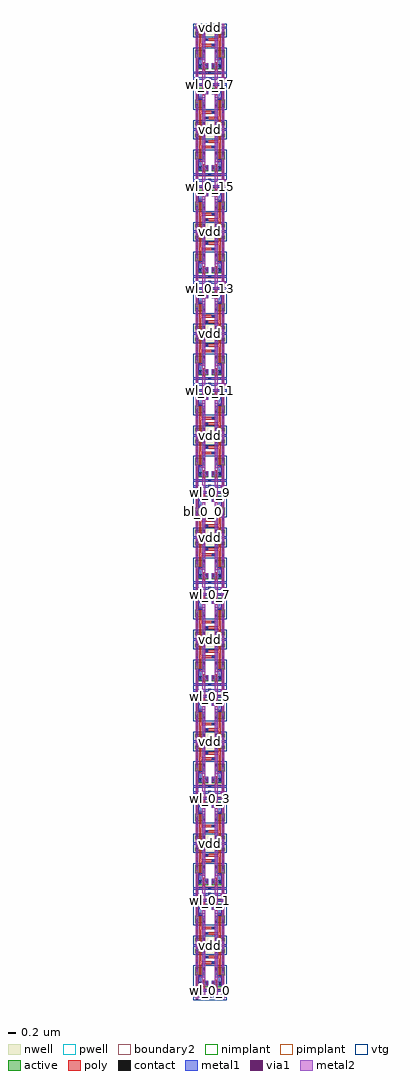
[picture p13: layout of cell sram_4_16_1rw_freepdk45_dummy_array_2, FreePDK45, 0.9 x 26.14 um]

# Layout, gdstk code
import gdstk
lib = gdstk.Library(unit=1e-6, precision=5e-10)
def R(c, l, rs):  # rectangles x0, y0, x1, y1
    for r in rs: c.add(gdstk.rectangle(r[:2], r[2:], *l))
def A(c, l, x, y, w, h, nx, ny, dx, dy):  # array of equal rectangles
    R(c, l, [(x+i*dx, y+j*dy, x+i*dx+w, y+j*dy+h) for i in range(nx) for j in range(ny)])
active = (1, 0)
pwell = (2, 0)
nwell = (3, 0)
nimplant = (4, 0)
pimplant = (5, 0)
vtg = (6, 0)
poly = (9, 0)
contact = (10, 0)
metal1 = (11, 0)
via1 = (12, 0)
metal2 = (13, 0)
boundary2 = (239, 0)

dummy_cell_1rw = lib.new_cell('dummy_cell_1rw')
R(dummy_cell_1rw, active, [(0.3025,-0.045,0.3925,0.045), (0.3025,-0.045,0.3925,0.045), (0.045,0.2475,0.305,0.3825), (0.045,0.2475,0.12,0.3825), (0.045,0.2475,0.12,0.3825), (0.23,0.2475,0.305,0.3825), (0.23,0.2475,0.305,0.3825), (0.4,0.2475,0.66,0.3825), (0.4,0.2475,0.475,0.3825), (0.4,0.2475,0.475,0.3825), (0.585,0.2475,0.66,0.3825), (0.585,0.2475,0.66,0.3825), (0.045,0.3075,0.12,0.3825), (0.23,0.3075,0.305,0.3825), (0.4,0.3075,0.475,0.3825), (0.585,0.3075,0.66,0.3825), (-0.04,0.5675,0.04,0.7725), (-0.035,0.5675,0.225,0.7725), (-0.035,0.5675,0.04,0.7725), (0.15,0.5675,0.225,0.7725), (0.15,0.5675,0.225,0.7725), (0.48,0.5675,0.74,0.7725), (0.48,0.5675,0.555,0.7725), (0.48,0.5675,0.555,0.7725), (0.665,0.5675,0.74,0.7725), (0.665,0.5675,0.745,0.7725), (-0.035,0.6975,0.04,0.7725), (0.15,0.6975,0.225,0.7725), (0.48,0.6975,0.555,0.7725), (0.665,0.6975,0.74,0.7725), (-0.04,1.1625,0.04,1.2525), (-0.035,1.1625,0.04,1.2375), (-0.035,1.1625,0.225,1.2525), (-0.035,1.1625,0.04,1.2525), (0.15,1.1625,0.225,1.2375), (0.15,1.1625,0.225,1.2525), (0.15,1.1625,0.225,1.2525), (0.48,1.1625,0.555,1.2375), (0.48,1.1625,0.74,1.2525), (0.48,1.1625,0.555,1.2525), (0.48,1.1625,0.555,1.2525), (0.665,1.1625,0.74,1.2375), (0.665,1.1625,0.74,1.2525), (0.665,1.1625,0.745,1.2525), (0.3025,1.32,0.3925,1.41), (0.3025,1.32,0.3925,1.41)])
R(dummy_cell_1rw, pwell, [(-0.095,-0.1,0.8,0.8275), (0.2475,-0.1,0.4475,0.1), (0.2475,-0.08,0.4475,0.12), (-0.01,0.1925,0.36,0.4375), (0.345,0.1925,0.715,0.4375), (-0.09,0.5125,0.28,0.8275), (0.425,0.5125,0.795,0.8275)])
R(dummy_cell_1rw, nwell, [(-0.095,1.1075,0.8,1.465), (-0.09,1.1075,0.28,1.3075), (0.425,1.1075,0.795,1.3075), (0.2475,1.265,0.4475,1.465), (0.2475,1.265,0.4475,1.465)])
R(dummy_cell_1rw, nimplant, [(0.045,0.2475,0.305,0.3825), (0.4,0.2475,0.66,0.3825), (-0.035,0.5675,0.225,0.7725), (0.48,0.5675,0.74,0.7725), (0.3025,1.32,0.3925,1.41), (0.3025,1.32,0.3925,1.41)])
R(dummy_cell_1rw, pimplant, [(0.3025,-0.045,0.3925,0.045), (-0.035,1.1625,0.225,1.2525), (0.48,1.1625,0.74,1.2525)])
R(dummy_cell_1rw, vtg, [(-0.09,-0.1,0.795,0.8275), (-0.01,0.1925,0.36,0.4375), (0.345,0.1925,0.715,0.4375), (-0.09,0.5125,0.28,0.8275), (0.425,0.5125,0.795,0.8275), (-0.09,1.1075,0.28,1.3075), (-0.09,1.1075,0.795,1.465), (0.425,1.1075,0.795,1.3075)])
R(dummy_cell_1rw, poly, [(0.07,0.1225,0.635,0.1975), (0.2975,0.1225,0.3725,0.1975), (0.15,0.1925,0.2,0.2475), (0.15,0.1925,0.2,0.4375), (0.505,0.1925,0.555,0.2475), (0.505,0.1925,0.555,0.4375), (0.15,0.3825,0.2,0.4375), (0.505,0.3825,0.555,0.4375), (0.07,0.5125,0.12,0.5675), (0.07,0.5125,0.12,0.8275), (0.585,0.5125,0.635,0.5675), (0.585,0.5125,0.635,0.8275), (0.07,0.7725,0.12,0.8275), (0.585,0.7725,0.635,0.8275), (0.07,0.8275,0.12,1.1075), (0.07,0.8275,0.12,1.1075), (0.585,0.8275,0.635,1.1075), (0.585,0.8275,0.635,1.1075), (0.07,0.8625,0.5025,0.9375), (0.4275,0.8625,0.5025,0.9375), (0.4275,0.8625,0.5025,0.9375), (0.2025,1.0125,0.2775,1.0875), (0.2025,1.0125,0.2775,1.0875), (0.2025,1.0125,0.635,1.0875), (0.07,1.1075,0.12,1.1625), (0.07,1.1075,0.12,1.3075), (0.585,1.1075,0.635,1.1625), (0.585,1.1075,0.635,1.3075), (0.07,1.2525,0.12,1.3075), (0.585,1.2525,0.635,1.3075)])
R(dummy_cell_1rw, contact, [(0.315,-0.0325,0.38,0.0325), (0.3025,0.1275,0.3675,0.1925), (0.05,0.3125,0.115,0.3775), (0.235,0.3125,0.3,0.3775), (0.405,0.3125,0.47,0.3775), (0.59,0.3125,0.655,0.3775), (-0.0325,0.7025,0.0325,0.7675), (0.155,0.7025,0.22,0.7675), (0.485,0.7025,0.55,0.7675), (0.6725,0.7025,0.7375,0.7675), (0.4325,0.8675,0.4975,0.9325), (0.4325,0.8675,0.4975,0.9325), (0.2075,1.0175,0.2725,1.0825), (0.2075,1.0175,0.2725,1.0825), (-0.0325,1.1675,0.0325,1.2325), (0.155,1.1675,0.22,1.2325), (0.485,1.1675,0.55,1.2325), (0.6725,1.1675,0.7375,1.2325), (0.315,1.3325,0.38,1.3975)])
R(dummy_cell_1rw, metal1, [(-0.09,-0.0325,0.795,0.0325), (-0.09,-0.0325,0.795,0.0325), (0.285,-0.0325,0.42,0.0325), (0.285,-0.0325,0.42,0.0325), (0.6375,-0.0325,0.7725,0.0325), (0.6375,-0.0325,0.7725,0.0325), (0.6375,-0.0325,0.7725,0.0325), (0.6375,-0.0325,0.7725,0.0325), (-0.09,0.1275,0.795,0.1925), (-0.09,0.1275,0.795,0.1925), (0.2675,0.1275,0.4025,0.1925), (-0.085,0.13,-0.0325,0.1925), (0.62,0.13,0.6725,0.1925), (0.05,0.2775,0.115,0.4125), (0.05,0.2775,0.12,0.5675), (0.2225,0.2775,0.2875,0.4125), (0.235,0.2775,0.3,0.4125), (0.405,0.2775,0.47,0.4125), (0.4175,0.2775,0.4825,0.4125), (0.59,0.2775,0.655,0.4125), (0.59,0.2775,0.66,0.5675), (0.05,0.5025,0.22,0.5675), (0.155,0.5025,0.22,1.2425), (0.485,0.5025,0.66,0.5675), (0.485,0.5025,0.55,1.1325), (-0.035,0.6675,0.035,0.8025), (-0.035,0.6675,0.035,0.8025), (-0.03,0.6675,0.035,0.8025), (0.155,0.6675,0.22,0.8025), (0.485,0.6675,0.55,0.8025), (0.67,0.6675,0.735,0.8025), (0.67,0.6675,0.74,0.8025), (0.67,0.6675,0.74,0.8025), (0.67,0.6675,0.74,0.8025), (0.67,0.6675,0.74,0.8025), (0.67,0.6675,0.74,0.8025), (0.67,0.6675,0.74,0.8025), (-0.0325,0.77,0.0325,0.905), (-0.0325,0.77,0.0325,0.905), (-0.0325,0.77,0.0325,0.905), (-0.0325,0.77,0.0325,0.905), (-0.0325,0.77,0.0325,0.905), (-0.0325,0.77,0.0325,0.905), (0.6725,0.77,0.7375,0.905), (0.6725,0.77,0.7375,0.905), (0.6725,0.77,0.7375,0.905), (0.6725,0.77,0.7375,0.905), (0.6725,0.77,0.7375,0.905), (0.6725,0.77,0.7375,0.905), (0.6725,0.77,0.7375,0.905), (0.6725,0.77,0.7375,0.905), (0.6725,0.77,0.7375,0.905), (0.6725,0.77,0.7375,0.905), (0.6725,0.77,0.7375,0.905), (0.6725,0.77,0.7375,0.905), (0.6725,0.77,0.7375,0.905), (0.6725,0.77,0.7375,0.905), (0.6725,0.77,0.7375,0.905), (0.6725,0.77,0.7375,0.905), (0.6725,0.77,0.7375,0.905), (0.6725,0.77,0.7375,0.905), (0.6725,0.77,0.7375,0.905), (0.6725,0.77,0.7375,0.905), (0.6725,0.77,0.7375,0.905), (0.6725,0.77,0.7375,0.905), (0.6725,0.77,0.7375,0.905), (0.6725,0.77,0.7375,0.905), (0.3975,0.8675,0.5325,0.9325), (0.3975,0.8675,0.5325,0.9325), (0.1725,1.0175,0.3075,1.0825), (0.1725,1.0175,0.3075,1.0825), (-0.035,1.1325,0.035,1.3325), (-0.03,1.1325,0.035,1.2675), (0.155,1.1325,0.22,1.2675), (0.485,1.1325,0.55,1.2675), (0.67,1.1325,0.735,1.2675), (0.67,1.1325,0.74,1.3325), (0.67,1.1325,0.74,1.3325), (-0.09,1.3325,0.795,1.3975), (-0.09,1.3325,0.795,1.3975)])
R(dummy_cell_1rw, via1, [(-0.0325,-0.0325,0.0325,0.0325), (-0.0325,-0.0325,0.0325,0.0325), (0.6725,-0.0325,0.7375,0.0325), (0.6725,-0.0325,0.7375,0.0325), (0.6725,-0.0325,0.7375,0.0325), (0.6725,-0.0325,0.7375,0.0325), (-0.0325,0.805,0.0325,0.87), (-0.0325,0.805,0.0325,0.87), (-0.0325,0.805,0.0325,0.87), (-0.0325,0.805,0.0325,0.87), (-0.0325,0.805,0.0325,0.87), (-0.0325,0.805,0.0325,0.87), (0.6725,0.805,0.7375,0.87), (0.6725,0.805,0.7375,0.87), (0.6725,0.805,0.7375,0.87), (0.6725,0.805,0.7375,0.87), (0.6725,0.805,0.7375,0.87), (0.6725,0.805,0.7375,0.87), (0.6725,0.805,0.7375,0.87), (0.6725,0.805,0.7375,0.87), (0.6725,0.805,0.7375,0.87), (0.6725,0.805,0.7375,0.87), (0.6725,0.805,0.7375,0.87), (0.6725,0.805,0.7375,0.87), (0.6725,0.805,0.7375,0.87), (0.6725,0.805,0.7375,0.87), (0.6725,0.805,0.7375,0.87), (0.6725,0.805,0.7375,0.87), (0.6725,0.805,0.7375,0.87), (0.6725,0.805,0.7375,0.87), (0.6725,0.805,0.7375,0.87), (0.6725,0.805,0.7375,0.87), (0.6725,0.805,0.7375,0.87), (0.6725,0.805,0.7375,0.87), (0.6725,0.805,0.7375,0.87), (0.6725,0.805,0.7375,0.87)])
R(dummy_cell_1rw, metal2, [(-0.035,-0.08,0.035,1.465), (0.15,-0.08,0.22,1.465), (0.15,-0.08,0.22,1.465), (0.485,-0.08,0.555,1.465), (0.485,-0.08,0.555,1.465), (0.67,-0.08,0.74,1.465), (0.6375,-0.035,0.7725,0.035), (0.6375,-0.035,0.7725,0.035), (0.6375,-0.035,0.7725,0.035), (0.6375,-0.035,0.7725,0.035), (0.4925,-0.0325,0.55,0.0275), (-0.03,-0.03,0.03,0.0275), (0.1575,-0.025,0.2125,0.0275), (0.675,-0.025,0.735,0.0325), (0.67,-0.0125,0.74,1.3975), (0.22,0.2775,0.29,0.4125), (0.415,0.2775,0.485,0.4125), (-0.035,0.77,0.035,0.905), (-0.035,0.77,0.035,0.905), (-0.035,0.77,0.035,0.905), (-0.035,0.77,0.035,0.905), (-0.035,0.77,0.035,0.905), (-0.035,0.77,0.035,0.905), (0.67,0.77,0.74,0.905), (0.67,0.77,0.74,0.905), (0.67,0.77,0.74,0.905), (0.67,0.77,0.74,0.905), (0.67,0.77,0.74,0.905), (0.67,0.77,0.74,0.905), (0.67,0.77,0.74,0.905), (0.67,0.77,0.74,0.905), (0.67,0.77,0.74,0.905), (0.67,0.77,0.74,0.905), (0.67,0.77,0.74,0.905), (0.67,0.77,0.74,0.905), (0.67,0.77,0.74,0.905), (0.67,0.77,0.74,0.905), (0.67,0.77,0.74,0.905), (0.67,0.77,0.74,0.905), (0.67,0.77,0.74,0.905), (0.67,0.77,0.74,0.905), (0.67,0.77,0.74,0.905), (0.67,0.77,0.74,0.905), (0.67,0.77,0.74,0.905), (0.67,0.77,0.74,0.905), (0.67,0.77,0.74,0.905), (0.67,0.77,0.74,0.905)])
R(dummy_cell_1rw, boundary2, [(0,0.02,0.705,1.365)])
dummy_cell_1rw.add(gdstk.Label('gnd', (0.345,0), layer=11, texttype=0))
dummy_cell_1rw.add(gdstk.Label('vdd', (0.345,1.365), layer=11, texttype=0))
dummy_cell_1rw.add(gdstk.Label('wl', (-0.05,0.167), layer=11, texttype=0))
dummy_cell_1rw.add(gdstk.Label('br', (0.52,0.003), layer=13, texttype=0))
dummy_cell_1rw.add(gdstk.Label('bl', (0.19,0.003), layer=13, texttype=0))
dummy_cell_1rw.add(gdstk.Label('bl', (0.185,0.6925), layer=13, texttype=0))
dummy_cell_1rw.add(gdstk.Label('br', (0.52,0.6925), layer=13, texttype=0))
dummy_cell_1rw.add(gdstk.Label('wl', (0.3525,0.16), layer=11, texttype=0))
dummy_cell_1rw.add(gdstk.Label('vdd', (0.3525,1.365), layer=11, texttype=0))
dummy_cell_1rw.add(gdstk.Label('gnd', (0.3525,0), layer=11, texttype=0))

sram_4_16_1rw_freepdk45_ = lib.new_cell('sram_4_16_1rw_freepdk45_dummy_array_2')
A(sram_4_16_1rw_freepdk45_, metal1, -0.09, -0.0325, 0.885, 0.065, 1, 20, 0, 1.365)
R(sram_4_16_1rw_freepdk45_, metal1, [(0,0.1275,0.705,0.1925), (0,2.5375,0.705,2.6025), (0,2.8575,0.705,2.9225), (0,5.2675,0.705,5.3325), (0,5.5875,0.705,5.6525), (0,7.9975,0.705,8.0625), (0,8.3175,0.705,8.3825), (0,10.7275,0.705,10.7925), (0,11.0475,0.705,11.1125), (0,13.4575,0.705,13.5225), (0,13.7775,0.705,13.8425), (0,16.1875,0.705,16.2525), (0,16.5075,0.705,16.5725), (0,18.9175,0.705,18.9825), (0,19.2375,0.705,19.3025), (0,21.6475,0.705,21.7125), (0,21.9675,0.705,22.0325), (0,24.3775,0.705,24.4425), (0,24.6975,0.705,24.7625)])
R(sram_4_16_1rw_freepdk45_, metal2, [(0.15,0,0.22,25.935), (0.485,0,0.555,25.935)])
R(sram_4_16_1rw_freepdk45_, boundary2, [(0,0,0.705,25.935)])
sram_4_16_1rw_freepdk45_.add(gdstk.Reference(dummy_cell_1rw, (0,0)))
sram_4_16_1rw_freepdk45_.add(gdstk.Reference(dummy_cell_1rw, (0,2.73), x_reflection=True))
sram_4_16_1rw_freepdk45_.add(gdstk.Reference(dummy_cell_1rw, (0,2.73)))
sram_4_16_1rw_freepdk45_.add(gdstk.Reference(dummy_cell_1rw, (0,5.46), x_reflection=True))
sram_4_16_1rw_freepdk45_.add(gdstk.Reference(dummy_cell_1rw, (0,5.46)))
sram_4_16_1rw_freepdk45_.add(gdstk.Reference(dummy_cell_1rw, (0,8.19), x_reflection=True))
sram_4_16_1rw_freepdk45_.add(gdstk.Reference(dummy_cell_1rw, (0,8.19)))
sram_4_16_1rw_freepdk45_.add(gdstk.Reference(dummy_cell_1rw, (0,10.92), x_reflection=True))
sram_4_16_1rw_freepdk45_.add(gdstk.Reference(dummy_cell_1rw, (0,10.92)))
sram_4_16_1rw_freepdk45_.add(gdstk.Reference(dummy_cell_1rw, (0,13.65), x_reflection=True))
sram_4_16_1rw_freepdk45_.add(gdstk.Reference(dummy_cell_1rw, (0,13.65)))
sram_4_16_1rw_freepdk45_.add(gdstk.Reference(dummy_cell_1rw, (0,16.38), x_reflection=True))
sram_4_16_1rw_freepdk45_.add(gdstk.Reference(dummy_cell_1rw, (0,16.38)))
sram_4_16_1rw_freepdk45_.add(gdstk.Reference(dummy_cell_1rw, (0,19.11), x_reflection=True))
sram_4_16_1rw_freepdk45_.add(gdstk.Reference(dummy_cell_1rw, (0,19.11)))
sram_4_16_1rw_freepdk45_.add(gdstk.Reference(dummy_cell_1rw, (0,21.84), x_reflection=True))
sram_4_16_1rw_freepdk45_.add(gdstk.Reference(dummy_cell_1rw, (0,21.84)))
sram_4_16_1rw_freepdk45_.add(gdstk.Reference(dummy_cell_1rw, (0,24.57), x_reflection=True))
sram_4_16_1rw_freepdk45_.add(gdstk.Reference(dummy_cell_1rw, (0,24.57)))
sram_4_16_1rw_freepdk45_.add(gdstk.Label('bl_0_0', (0.185,12.9675), layer=13, texttype=0))
sram_4_16_1rw_freepdk45_.add(gdstk.Label('br_0_0', (0.52,12.9675), layer=13, texttype=0))
sram_4_16_1rw_freepdk45_.add(gdstk.Label('wl_0_0', (0.3525,0.16), layer=11, texttype=0))
sram_4_16_1rw_freepdk45_.add(gdstk.Label('wl_0_1', (0.3525,2.57), layer=11, texttype=0))
sram_4_16_1rw_freepdk45_.add(gdstk.Label('wl_0_2', (0.3525,2.89), layer=11, texttype=0))
sram_4_16_1rw_freepdk45_.add(gdstk.Label('wl_0_3', (0.3525,5.3), layer=11, texttype=0))
sram_4_16_1rw_freepdk45_.add(gdstk.Label('wl_0_4', (0.3525,5.62), layer=11, texttype=0))
sram_4_16_1rw_freepdk45_.add(gdstk.Label('wl_0_5', (0.3525,8.03), layer=11, texttype=0))
sram_4_16_1rw_freepdk45_.add(gdstk.Label('wl_0_6', (0.3525,8.35), layer=11, texttype=0))
sram_4_16_1rw_freepdk45_.add(gdstk.Label('wl_0_7', (0.3525,10.76), layer=11, texttype=0))
sram_4_16_1rw_freepdk45_.add(gdstk.Label('wl_0_8', (0.3525,11.08), layer=11, texttype=0))
sram_4_16_1rw_freepdk45_.add(gdstk.Label('wl_0_9', (0.3525,13.49), layer=11, texttype=0))
sram_4_16_1rw_freepdk45_.add(gdstk.Label('wl_0_10', (0.3525,13.81), layer=11, texttype=0))
sram_4_16_1rw_freepdk45_.add(gdstk.Label('wl_0_11', (0.3525,16.22), layer=11, texttype=0))
sram_4_16_1rw_freepdk45_.add(gdstk.Label('wl_0_12', (0.3525,16.54), layer=11, texttype=0))
sram_4_16_1rw_freepdk45_.add(gdstk.Label('wl_0_13', (0.3525,18.95), layer=11, texttype=0))
sram_4_16_1rw_freepdk45_.add(gdstk.Label('wl_0_14', (0.3525,19.27), layer=11, texttype=0))
sram_4_16_1rw_freepdk45_.add(gdstk.Label('wl_0_15', (0.3525,21.68), layer=11, texttype=0))
sram_4_16_1rw_freepdk45_.add(gdstk.Label('wl_0_16', (0.3525,22), layer=11, texttype=0))
sram_4_16_1rw_freepdk45_.add(gdstk.Label('wl_0_17', (0.3525,24.41), layer=11, texttype=0))
sram_4_16_1rw_freepdk45_.add(gdstk.Label('wl_0_18', (0.3525,24.73), layer=11, texttype=0))
sram_4_16_1rw_freepdk45_.add(gdstk.Label('vdd', (0.3525,23.205), layer=11, texttype=0))
sram_4_16_1rw_freepdk45_.add(gdstk.Label('vdd', (0.3525,1.365), layer=11, texttype=0))
sram_4_16_1rw_freepdk45_.add(gdstk.Label('vdd', (0.3525,15.015), layer=11, texttype=0))
sram_4_16_1rw_freepdk45_.add(gdstk.Label('vdd', (0.3525,25.935), layer=11, texttype=0))
sram_4_16_1rw_freepdk45_.add(gdstk.Label('vdd', (0.3525,12.285), layer=11, texttype=0))
sram_4_16_1rw_freepdk45_.add(gdstk.Label('vdd', (0.3525,6.825), layer=11, texttype=0))
sram_4_16_1rw_freepdk45_.add(gdstk.Label('vdd', (0.3525,17.745), layer=11, texttype=0))
sram_4_16_1rw_freepdk45_.add(gdstk.Label('vdd', (0.3525,4.095), layer=11, texttype=0))
sram_4_16_1rw_freepdk45_.add(gdstk.Label('vdd', (0.3525,9.555), layer=11, texttype=0))
sram_4_16_1rw_freepdk45_.add(gdstk.Label('vdd', (0.3525,20.475), layer=11, texttype=0))
sram_4_16_1rw_freepdk45_.add(gdstk.Label('gnd', (0.3525,16.38), layer=11, texttype=0))
sram_4_16_1rw_freepdk45_.add(gdstk.Label('gnd', (0.3525,13.65), layer=11, texttype=0))
sram_4_16_1rw_freepdk45_.add(gdstk.Label('gnd', (0.3525,5.46), layer=11, texttype=0))
sram_4_16_1rw_freepdk45_.add(gdstk.Label('gnd', (0.3525,2.73), layer=11, texttype=0))
sram_4_16_1rw_freepdk45_.add(gdstk.Label('gnd', (0.3525,24.57), layer=11, texttype=0))
sram_4_16_1rw_freepdk45_.add(gdstk.Label('gnd', (0.3525,0), layer=11, texttype=0))
sram_4_16_1rw_freepdk45_.add(gdstk.Label('gnd', (0.3525,8.19), layer=11, texttype=0))
sram_4_16_1rw_freepdk45_.add(gdstk.Label('gnd', (0.3525,19.11), layer=11, texttype=0))
sram_4_16_1rw_freepdk45_.add(gdstk.Label('gnd', (0.3525,21.84), layer=11, texttype=0))
sram_4_16_1rw_freepdk45_.add(gdstk.Label('gnd', (0.3525,10.92), layer=11, texttype=0))

lib.write_gds('sram_4_16_1rw_freepdk45_dummy_array_2.gds')
